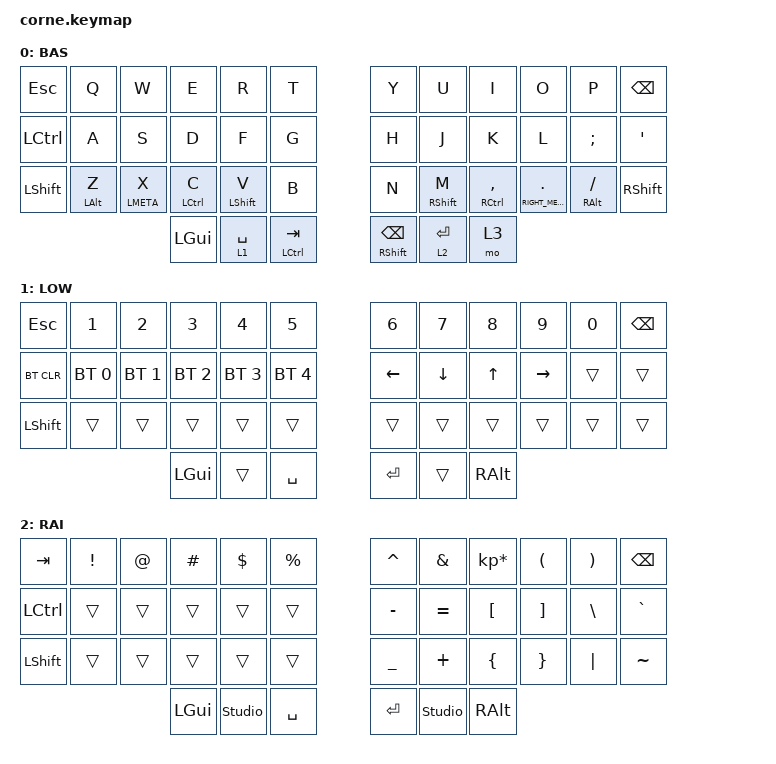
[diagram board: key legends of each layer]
/*
 * Copyright (c) 2020 The ZMK Contributors
 *
 * SPDX-License-Identifier: MIT
 */

#include <dt-bindings/led/led.h>
#include <dt-bindings/zmk/reset.h>
#include <behaviors.dtsi>
#include <dt-bindings/zmk/bt.h>
#include <dt-bindings/zmk/keys.h>

&led_strip { chain-length = <27>; };

/ {
    behaviors {
        hold_tap: hold_tap {
            compatible = "zmk,behavior-hold-tap";
            label = "HOLD_TAP";
            bindings = <&kp>, <&kp>;

            #binding-cells = <2>;
            tapping-term-ms = <200>;
            flavor = "tap-preferred";
            quick-tap-ms = <150>;
        };
    };

    keymap {
        compatible = "zmk,keymap";

        default_layer {
            display-name = "BAS";

            // -----------------------------------------------------------------------------------------
            // |  TAB |  Q  |  W  |  E  |  R  |  T  |   |  Y  |  U   |  I  |  O  |  P  | BKSP |
            // | CTRL |  A  |  S  |  D  |  F  |  G  |   |  H  |  J   |  K  |  L  |  ;  |  '   |
            // | SHFT |  Z  |  X  |  C  |  V  |  B  |   |  N  |  M   |  ,  |  .  |  /  | ESC  |
            //                    | GUI | LWR | SPC |   | ENT | RSE  | ALT |

            bindings = <
&kp ESCAPE  &kp Q           &kp W        &kp E        &kp R         &kp T            &kp Y                 &kp U              &kp I            &kp O               &kp P               &kp BSPC
&kp LCTRL   &kp A           &kp S        &kp D        &kp F         &kp G            &kp H                 &kp J              &kp K            &kp L               &kp SEMI            &kp SQT
&kp LSHFT   &mt LEFT_ALT Z  &mt LMETA X  &mt LCTRL C  &mt LSHIFT V  &kp B            &kp N                 &mt RIGHT_SHIFT M  &mt RCTRL COMMA  &mt RIGHT_META DOT  &mt RIGHT_ALT FSLH  &kp RIGHT_SHIFT
                                         &kp LGUI     &lt 1 SPACE   &mt LCTRL TAB    &mt RSHIFT BACKSPACE  &lt 2 ENTER        &mo 3
            >;
        };

        lower_layer {
            display-name = "LOW";

            // -----------------------------------------------------------------------------------------
            // |  TAB |  1  |  2  |  3  |  4  |  5  |   |  6  |  7  |  8  |  9  |  0  | BKSP |
            // | BTCLR| BT1 | BT2 | BT3 | BT4 | BT5 |   | LFT | DWN |  UP | RGT |     |      |
            // | SHFT |     |     |     |     |     |   |     |     |     |     |     |      |
            //                    | GUI |     | SPC |   | ENT |     | ALT |

            bindings = <
&kp ESCAPE  &kp N1        &kp N2        &kp N3        &kp N4        &kp N5          &kp N6    &kp N7    &kp N8    &kp N9     &kp N0  &kp BSPC
&bt BT_CLR  &bt BT_SEL 0  &bt BT_SEL 1  &bt BT_SEL 2  &bt BT_SEL 3  &bt BT_SEL 4    &kp LEFT  &kp DOWN  &kp UP    &kp RIGHT  &trans  &trans
&kp LSHFT   &trans        &trans        &trans        &trans        &trans          &trans    &trans    &trans    &trans     &trans  &trans
                                        &kp LGUI      &trans        &kp SPACE       &kp RET   &trans    &kp RALT
            >;
        };

        raise_layer {
            display-name = "RAI";

            // -----------------------------------------------------------------------------------------
            // |  TAB |  !  |  @  |  #  |  $  |  %  |   |  ^  |  &  |  *  |  (  |  )  | BKSP |
            // | CTRL |     |     |     |     |     |   |  -  |  =  |  [  |  ]  |  \  |  `   |
            // | SHFT |     |     |     |     |     |   |  _  |  +  |  {  |  }  | "|" |  ~   |
            //                    | GUI |     | SPC |   | ENT |     | ALT |

            bindings = <
&kp TAB    &kp EXCL  &kp AT  &kp HASH  &kp DLLR        &kp PRCNT    &kp CARET  &kp AMPS        &kp KP_MULTIPLY  &kp LPAR  &kp RPAR  &kp BSPC
&kp LCTRL  &trans    &trans  &trans    &trans          &trans       &kp MINUS  &kp EQUAL       &kp LBKT         &kp RBKT  &kp BSLH  &kp GRAVE
&kp LSHFT  &trans    &trans  &trans    &trans          &trans       &kp UNDER  &kp PLUS        &kp LBRC         &kp RBRC  &kp PIPE  &kp TILDE
                             &kp LGUI  &studio_unlock  &kp SPACE    &kp RET    &studio_unlock  &kp RALT
            >;
        };

        extra_1 { status = "reserved"; };

        extra_2 { status = "reserved"; };

        extra_3 { status = "reserved"; };
    };
};
